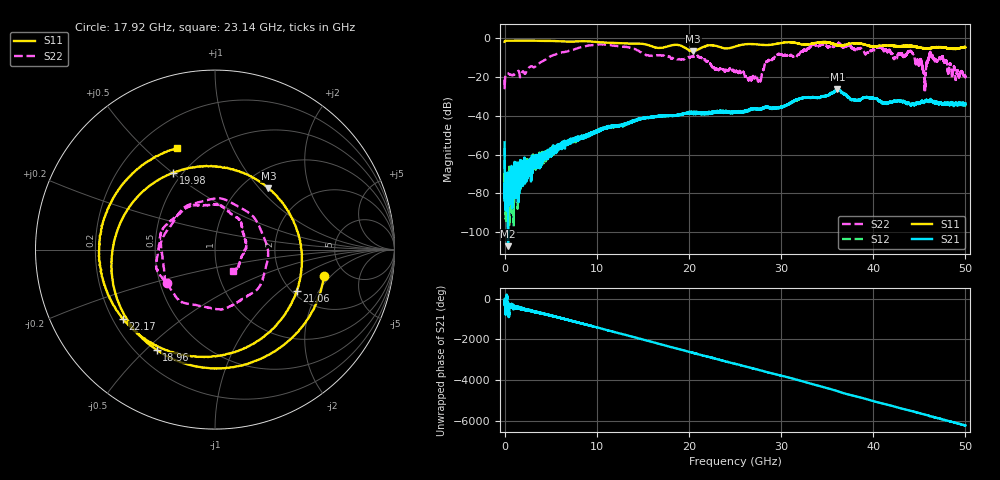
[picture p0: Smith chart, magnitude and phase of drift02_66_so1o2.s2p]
!Created with skrf (http://scikit-rf.org).
# Hz S RI R 50.0
!freq ReS11 ImS11 ReS21 ImS21 ReS12 ImS12 ReS22 ImS22
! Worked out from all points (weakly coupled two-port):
!   10001 points, 300 kHz to 50 GHz, reference 50 ohm
!   highest |S21| = -26.37 dB at 36.12 GHz (marker M1); lowest = -107.1 dB at 375.3 MHz (marker M2)
!   lowest |S11| = -6.9 dB at 20.48 GHz (marker M3), VSWR 2.65, Z = 65.2 + j55.9 ohm
!   |S11| at or under -10 dB: nowhere
!   |S22| runs from -28.1 to -2.5 dB; largest |S21 - S12| = 0.0046
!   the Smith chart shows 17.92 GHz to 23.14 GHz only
!   S11 on the Smith chart (normalised r, x): 17.92 GHz: 3.48, -1.67; 18.96 GHz: 0.28, -0.54; 19.98 GHz: 0.45, +0.50; 21.06 GHz: 2.13, -1.31; 22.17 GHz: 0.24, -0.32; 23.14 GHz: 0.36, +0.63
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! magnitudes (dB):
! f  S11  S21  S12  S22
! 300 kHz  -2.1  -53.7  -56.4  -21.5
! 255.3 MHz  -1.4  -72.2  -72.6  -18.2
! 375.3 MHz  -1.4  -107.1  -71.1  -18.3
! 8.335 GHz  -1.7  -50.8  -51.1  -4.7
! 16.67 GHz  -5.2  -40.2  -40.1  -9.0
! 17.92 GHz  -4.1  -40.1  -40.0  -9.7
! 18.96 GHz  -3.8  -39.5  -39.5  -10.9
! 19.98 GHz  -6.2  -38.7  -38.5  -9.8
! 20.48 GHz  -6.9  -38.8  -38.5  -9.7
! 21.06 GHz  -5.8  -38.5  -38.8  -9.7
! 22.17 GHz  -3.9  -38.7  -38.8  -13.0
! 23.14 GHz  -4.4  -38.0  -37.8  -16.2
! 25 GHz  -4.5  -38.4  -38.3  -17.7
! 27.63 GHz  -3.5  -36.7  -36.6  -21.5
! 29.54 GHz  -3.0  -35.7  -36.2  -8.8
! 33.34 GHz  -3.0  -30.6  -30.6  -3.7
! 36.12 GHz  -3.8  -26.4  -27.0  -3.3
! 41.67 GHz  -3.9  -33.3  -33.4  -6.2
! 44.13 GHz  -4.2  -34.5  -34.6  -7.1
! 45.5 GHz  -5.4  -33.5  -32.9  -18.0
! 46.27 GHz  -5.2  -32.1  -32.4  -9.3
! 50 GHz  -4.8  -33.7  -34.4  -20.0
